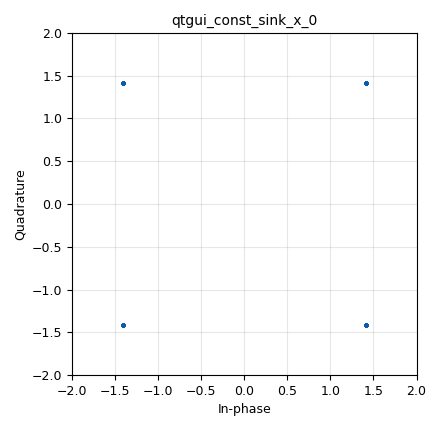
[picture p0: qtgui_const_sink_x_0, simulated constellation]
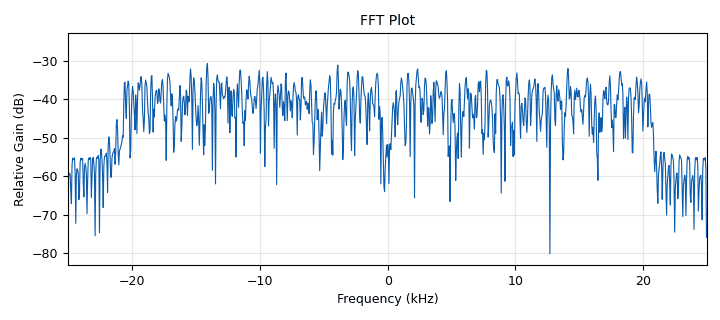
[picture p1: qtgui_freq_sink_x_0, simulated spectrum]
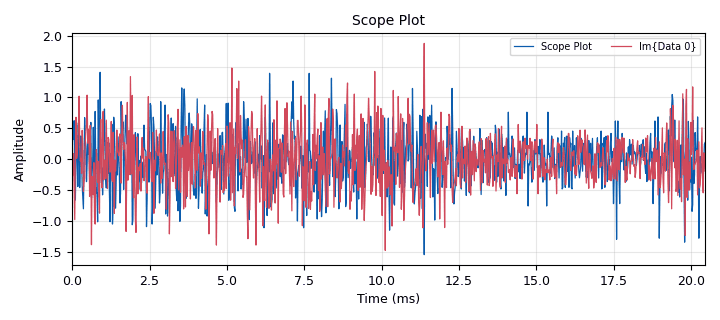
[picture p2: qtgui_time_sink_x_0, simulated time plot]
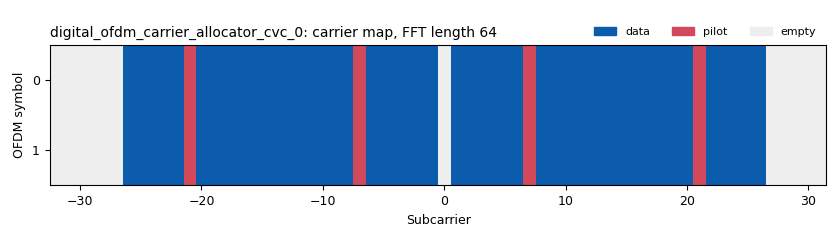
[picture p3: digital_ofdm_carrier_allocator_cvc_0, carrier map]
options:
  parameters:
    category: Custom
    description: Example of an OFDM Transmitter
    generate_options: qt_gui
    id: tx_ofdm
    output_language: python
    run_options: run
    title: OFDM Tx
  states: {}

blocks:
- name: fft_len
  id: variable
  parameters:
    value: '64'
  states: {}
- name: gain
  id: variable_qtgui_range
  parameters:
    orient: Qt.Horizontal
    rangeType: int
    start: '1'
    step: '1'
    stop: '90'
    value: '60'
  states: {}
- name: header_formatter
  id: variable
  parameters:
    value: digital.packet_header_ofdm(occupied_carriers, n_syms=1, len_tag_key=length_tag_key, frame_len_tag_key=length_tag_key, bits_per_header_sym=header_mod.bits_per_symbol(), bits_per_payload_sym=payload_mod.bits_per_symbol(), scramble_header=False)
  states: {}
- name: header_mod
  id: variable
  parameters:
    value: digital.constellation_bpsk()
  states: {}
- name: length_tag_key
  id: variable
  parameters:
    value: '"packet_len"'
  states: {}
- name: occupied_carriers
  id: variable
  parameters:
    value: (list(range(-26, -21)) + list(range(-20, -7)) + list(range(-6, 0)) + list(range(1, 7)) + list(range(8, 21)) + list(range(22, 27)),)
  states: {}
- name: packet_len
  id: variable
  parameters:
    value: '96'
  states: {}
- name: payload_mod
  id: variable
  parameters:
    value: digital.constellation_qpsk()
  states: {}
- name: pilot_carriers
  id: variable
  parameters:
    value: ((-21, -7, 7, 21,),)
  states: {}
- name: pilot_symbols
  id: variable
  parameters:
    value: ((1, 1, 1, -1,),)
  states: {}
- name: rf_frequency
  id: variable_qtgui_range
  parameters:
    orient: Qt.Horizontal
    start: 250e6
    step: 50e6
    stop: 100e7
    value: 500e6
  states: {}
- name: rolloff
  id: variable
  parameters:
    value: '0'
  states: {}
- name: samp_rate
  id: variable
  parameters:
    value: '50000'
  states: {}
- name: sync_word1
  id: variable
  parameters:
    value: '[0., 0., 0., 0., 0., 0., 0., 1.41421356, 0., -1.41421356, 0., 1.41421356, 0., -1.41421356, 0., -1.41421356, 0., -1.41421356, 0., 1.41421356, 0., -1.41421356, 0., 1.41421356, 0., -1.41421356, 0., -1.41421356, 0., -1.41421356, 0., -1.41421356, 0., 1.41421356, 0., -1.41421356, 0., 1.41421356, 0., 1.41421356, 0., 1.41421356, 0., -1.41421356, 0., 1.41421356, 0., 1.41421356, 0., 1.41421356, 0., -1.41421356, 0., 1.41421356, 0., 1.41421356, 0., 1.41421356, 0., 0., 0., 0., 0., 0.]'
  states: {}
- name: sync_word2
  id: variable
  parameters:
    value: '[0, 0, 0, 0, 0, 0, -1, -1, -1, -1, 1, 1, -1, -1, -1, 1, -1, 1, 1, 1, 1, 1, -1, -1, -1, -1, -1, 1, -1, -1, 1, -1, 0, 1, -1, 1, 1, 1, -1, 1, 1, 1, -1, 1, 1, 1, 1, -1, 1, -1, -1, -1, 1, -1, 1, -1, -1, -1, -1, 0, 0, 0, 0, 0] '
  states: {}
- name: analog_random_source_x_0
  id: analog_random_source_x
  parameters:
    max: '255'
    min: '0'
    num_samps: '1000'
    repeat: 'True'
    type: byte
  states: {}
- name: blocks_multiply_const_vxx_0
  id: blocks_multiply_const_vxx
  parameters:
    const: '0.05'
    type: complex
  states: {}
- name: blocks_repack_bits_bb_0
  id: blocks_repack_bits_bb
  parameters:
    endianness: gr.GR_LSB_FIRST
    k: '8'
    l: payload_mod.bits_per_symbol()
    len_tag_key: length_tag_key
  states: {}
- name: blocks_stream_to_tagged_stream_0
  id: blocks_stream_to_tagged_stream
  parameters:
    len_tag_key: length_tag_key
    packet_len: packet_len
    type: byte
  states: {}
- name: blocks_tag_debug_0
  id: blocks_tag_debug
  parameters:
    display: 'False'
    name: Rx'd Packets
    type: byte
  states: {}
- name: blocks_tag_gate_0
  id: blocks_tag_gate
  parameters:
    propagate_tags: 'False'
    type: complex
  states: {}
- name: blocks_tagged_stream_mux_0
  id: blocks_tagged_stream_mux
  parameters:
    lengthtagname: length_tag_key
    ninputs: '2'
    type: complex
  states: {}
- name: blocks_throttle_0
  id: blocks_throttle
  parameters:
    samples_per_second: samp_rate
    type: complex
  states: {}
- name: channels_channel_model_0
  id: channels_channel_model
  parameters:
    block_tags: 'True'
    epsilon: '1.0'
    freq_offset: '0.0'
    noise_voltage: '0.0'
    seed: '0'
    taps: 1.0 + 1.0j
  states: {}
- name: digital_chunks_to_symbols_xx_0
  id: digital_chunks_to_symbols_xx
  parameters:
    dimension: '1'
    in_type: byte
    out_type: complex
    symbol_table: header_mod.points()
  states: {}
- name: digital_chunks_to_symbols_xx_0_0
  id: digital_chunks_to_symbols_xx
  parameters:
    dimension: '1'
    in_type: byte
    out_type: complex
    symbol_table: payload_mod.points()
  states: {}
- name: digital_crc32_bb_0
  id: digital_crc32_bb
  parameters:
    check: 'False'
    lengthtagname: length_tag_key
    packed: 'True'
  states: {}
- name: digital_ofdm_carrier_allocator_cvc_0
  id: digital_ofdm_carrier_allocator_cvc
  parameters:
    fft_len: fft_len
    len_tag_key: length_tag_key
    occupied_carriers: occupied_carriers
    output_is_shifted: 'True'
    pilot_carriers: pilot_carriers
    pilot_symbols: pilot_symbols
    sync_words: (sync_word1, sync_word2)
  states: {}
- name: digital_ofdm_cyclic_prefixer_0
  id: digital_ofdm_cyclic_prefixer
  parameters:
    cp_len: fft_len//4
    input_size: fft_len
    rolloff: rolloff
    tagname: length_tag_key
  states: {}
- name: digital_ofdm_rx_0
  id: digital_ofdm_rx
  parameters:
    cp_len: fft_len//4
    fft_len: fft_len
    header_mod: '"BPSK"'
    occupied_carriers: occupied_carriers
    packet_len_key: '"length"'
    payload_mod: '"QPSK"'
    pilot_carriers: pilot_carriers
    pilot_symbols: pilot_symbols
    sync_word1: sync_word1
    sync_word2: sync_word2
  states: {}
- name: digital_packet_headergenerator_bb_0
  id: digital_packet_headergenerator_bb
  parameters:
    header_formatter: header_formatter.base()
    len_tag_key: length_tag_key
  states: {}
- name: fft_vxx_0
  id: fft_vxx
  parameters:
    fft_size: fft_len
    forward: 'False'
    shift: 'True'
    type: complex
    window: ()
  states: {}
- name: header_bits
  id: virtual_sink
  parameters:
    stream_id: Header Bits
  states: {}
- name: limesdr_sink_0
  id: limesdr_sink
  parameters:
    allow_tcxo_dac: '0'
    channel_mode: '0'
    gain_dB_ch0: gain
    oversample: '0'
    rf_freq: rf_frequency
    samp_rate: samp_rate
  states: {}
- name: qtgui_const_sink_x_0
  id: qtgui_const_sink_x
  parameters:
    size: '1024'
    type: complex
  states: {}
- name: qtgui_freq_sink_x_0
  id: qtgui_freq_sink_x
  parameters:
    autoscale: 'True'
    bw: samp_rate
    fc: '0'
    fftsize: '1024'
    name: FFT Plot
    showports: 'True'
    type: complex
    wintype: firdes.WIN_BLACKMAN_hARRIS
  states: {}
- name: qtgui_time_sink_x_0
  id: qtgui_time_sink_x
  parameters:
    autoscale: 'True'
    label1: Scope Plot
    label2: ''
    name: Scope Plot
    size: '1024'
    srate: samp_rate
    type: complex
  states: {}
- name: virtual_sink_0
  id: virtual_sink
  parameters:
    stream_id: Time Domain
  states: {}
- name: virtual_sink_0_0
  id: virtual_sink
  parameters:
    stream_id: Payload Bits
  states: {}
- name: virtual_sink_0_0_0
  id: virtual_sink
  parameters:
    stream_id: Pre-OFDM
  states: {}
- name: virtual_sink_1
  id: virtual_sink
  parameters:
    stream_id: Tx Signal
  states: {}
- name: virtual_source_0
  id: virtual_source
  parameters:
    stream_id: Header Bits
  states: {}
- name: virtual_source_0_0
  id: virtual_source
  parameters:
    stream_id: Payload Bits
  states: {}
- name: virtual_source_0_0_0
  id: virtual_source
  parameters:
    stream_id: Pre-OFDM
  states: {}
- name: virtual_source_0_0_0_0
  id: virtual_source
  parameters:
    stream_id: Time Domain
  states: {}
- name: virtual_source_1
  id: virtual_source
  parameters:
    stream_id: Tx Signal
  states: {}

connections:
- [analog_random_source_x_0, '0', blocks_stream_to_tagged_stream_0, '0']
- [blocks_multiply_const_vxx_0, '0', blocks_tag_gate_0, '0']
- [blocks_repack_bits_bb_0, '0', virtual_sink_0_0, '0']
- [blocks_stream_to_tagged_stream_0, '0', digital_crc32_bb_0, '0']
- [blocks_tag_gate_0, '0', blocks_throttle_0, '0']
- [blocks_tagged_stream_mux_0, '0', virtual_sink_0_0_0, '0']
- [blocks_throttle_0, '0', limesdr_sink_0, '0']
- [blocks_throttle_0, '0', qtgui_freq_sink_x_0, '0']
- [blocks_throttle_0, '0', qtgui_time_sink_x_0, '0']
- [blocks_throttle_0, '0', virtual_sink_1, '0']
- [channels_channel_model_0, '0', digital_ofdm_rx_0, '0']
- [digital_chunks_to_symbols_xx_0, '0', blocks_tagged_stream_mux_0, '0']
- [digital_chunks_to_symbols_xx_0_0, '0', blocks_tagged_stream_mux_0, '1']
- [digital_chunks_to_symbols_xx_0_0, '0', qtgui_const_sink_x_0, '0']
- [digital_crc32_bb_0, '0', blocks_repack_bits_bb_0, '0']
- [digital_crc32_bb_0, '0', digital_packet_headergenerator_bb_0, '0']
- [digital_ofdm_carrier_allocator_cvc_0, '0', fft_vxx_0, '0']
- [digital_ofdm_cyclic_prefixer_0, '0', virtual_sink_0, '0']
- [digital_ofdm_rx_0, '0', blocks_tag_debug_0, '0']
- [digital_packet_headergenerator_bb_0, '0', header_bits, '0']
- [fft_vxx_0, '0', digital_ofdm_cyclic_prefixer_0, '0']
- [virtual_source_0, '0', digital_chunks_to_symbols_xx_0, '0']
- [virtual_source_0_0, '0', digital_chunks_to_symbols_xx_0_0, '0']
- [virtual_source_0_0_0, '0', digital_ofdm_carrier_allocator_cvc_0, '0']
- [virtual_source_0_0_0_0, '0', blocks_multiply_const_vxx_0, '0']
- [virtual_source_1, '0', channels_channel_model_0, '0']

metadata:
  file_format: 1
